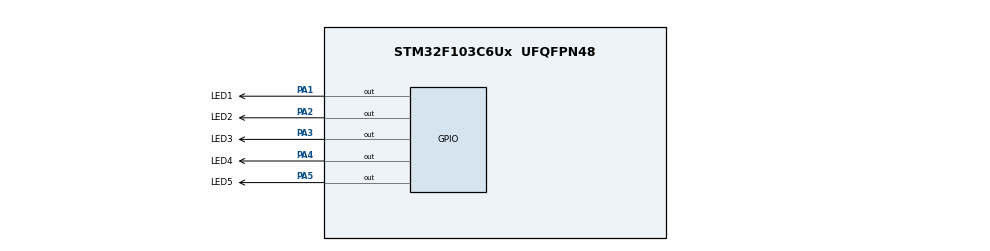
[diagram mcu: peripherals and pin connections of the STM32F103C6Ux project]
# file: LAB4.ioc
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Mcu.Family=STM32F1
Mcu.Name=STM32F103C6Ux
Mcu.Package=UFQFPN48
NVIC.PriorityGroup=NVIC_PRIORITYGROUP_4
NVIC.TIM2_IRQn=true\:0\:0\:false\:false\:true\:true\:true
PA1.GPIO_Label=LED1
PA1.Signal=GPIO_Output
PA2.GPIO_Label=LED2
PA2.Signal=GPIO_Output
PA3.GPIO_Label=LED3
PA3.Signal=GPIO_Output
PA4.GPIO_Label=LED4
PA4.Signal=GPIO_Output
PA5.GPIO_Label=LED5
PA5.Signal=GPIO_Output
ProjectManager.HeapSize=0x200
ProjectManager.StackSize=0x400
ProjectManager.TargetToolchain=STM32CubeIDE
RCC.APB1Freq_Value=8000000
RCC.APB2Freq_Value=8000000
TIM2.Period=9
TIM2.Prescaler=7999
VP_SYS_VS_ND.Mode=No_Debug
VP_TIM2_VS_ClockSourceINT.Mode=Internal
board=custom

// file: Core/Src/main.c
/* USER CODE BEGIN Header */
/**
  ******************************************************************************
  * @file           : main.c
  * @brief          : Main program body
  ******************************************************************************
  * @attention
  *
  * <h2><center>&copy; Copyright (c) 2024 STMicroelectronics.
  * All rights reserved.</center></h2>
  *
  * This software component is licensed by ST under BSD 3-Clause license,
  * the "License"; You may not use this file except in compliance with the
  * License. You may obtain a copy of the License at:
  *                        opensource.org/licenses/BSD-3-Clause
  *
  ******************************************************************************
  */
/* USER CODE END Header */
#include "main.h"

/* USER CODE BEGIN Includes */
#include "scheduler.h"
/* USER CODE END Includes */

TIM_HandleTypeDef htim2;

void SystemClock_Config(void);
static void MX_GPIO_Init(void);
static void MX_TIM2_Init(void);

/* USER CODE BEGIN 0 */
void led_1_blink()
{
  HAL_GPIO_TogglePin(LED1_GPIO_Port, LED1_Pin);
}
void led_2_blink()
{
  HAL_GPIO_TogglePin(LED2_GPIO_Port, LED2_Pin);
}
void led_3_blink()
{
  HAL_GPIO_TogglePin(LED3_GPIO_Port, LED3_Pin);
}
void led_4_blink()
{
  HAL_GPIO_TogglePin(LED4_GPIO_Port, LED4_Pin);
}
void led_5_blink()
{
  HAL_GPIO_WritePin(LED5_GPIO_Port, LED5_Pin, SET);
}
/* USER CODE END 0 */

int main(void)
{

  /* MCU Configuration--------------------------------------------------------*/

  /* Reset of all peripherals, Initializes the Flash interface and the Systick. */
  HAL_Init();

  /* Configure the system clock */
  SystemClock_Config();

  /* Initialize all configured peripherals */
  MX_GPIO_Init();
  MX_TIM2_Init();
  /* USER CODE BEGIN 2 */
  HAL_TIM_Base_Start_IT(&htim2);
  /* USER CODE END 2 */

  /* Infinite loop */
  /* USER CODE BEGIN WHILE */
  SCH_Init();

  SCH_Add_Task(led_1_blink, 0, 50);
  SCH_Add_Task(led_2_blink, 0, 100);
  SCH_Add_Task(led_3_blink, 0, 150);
  SCH_Add_Task(led_4_blink, 0, 200);
  SCH_Add_Task(led_5_blink, 500, 0);
  while (1)
  {
    /* USER CODE END WHILE */
	  SCH_Dispatcher();
  }
}

void SystemClock_Config(void)
{
  RCC_OscInitTypeDef RCC_OscInitStruct = {0};
  RCC_ClkInitTypeDef RCC_ClkInitStruct = {0};

  /** Initializes the RCC Oscillators according to the specified parameters
  * in the RCC_OscInitTypeDef structure.
  */
  RCC_OscInitStruct.OscillatorType = RCC_OSCILLATORTYPE_HSI;
  RCC_OscInitStruct.HSIState = RCC_HSI_ON;
  RCC_OscInitStruct.HSICalibrationValue = RCC_HSICALIBRATION_DEFAULT;
  RCC_OscInitStruct.PLL.PLLState = RCC_PLL_NONE;
  if (HAL_RCC_OscConfig(&RCC_OscInitStruct) != HAL_OK)
  {
    Error_Handler();
  }
  /** Initializes the CPU, AHB and APB buses clocks
  */
  RCC_ClkInitStruct.ClockType = RCC_CLOCKTYPE_HCLK|RCC_CLOCKTYPE_SYSCLK
                              |RCC_CLOCKTYPE_PCLK1|RCC_CLOCKTYPE_PCLK2;
  RCC_ClkInitStruct.SYSCLKSource = RCC_SYSCLKSOURCE_HSI;
  RCC_ClkInitStruct.AHBCLKDivider = RCC_SYSCLK_DIV1;
  RCC_ClkInitStruct.APB1CLKDivider = RCC_HCLK_DIV1;
  RCC_ClkInitStruct.APB2CLKDivider = RCC_HCLK_DIV1;

  if (HAL_RCC_ClockConfig(&RCC_ClkInitStruct, FLASH_LATENCY_0) != HAL_OK)
  {
    Error_Handler();
  }
}

static void MX_TIM2_Init(void)
{

  TIM_ClockConfigTypeDef sClockSourceConfig = {0};
  TIM_MasterConfigTypeDef sMasterConfig = {0};

  htim2.Instance = TIM2;
  htim2.Init.Prescaler = 7999;
  htim2.Init.CounterMode = TIM_COUNTERMODE_UP;
  htim2.Init.Period = 9;
  htim2.Init.ClockDivision = TIM_CLOCKDIVISION_DIV1;
  htim2.Init.AutoReloadPreload = TIM_AUTORELOAD_PRELOAD_DISABLE;
  if (HAL_TIM_Base_Init(&htim2) != HAL_OK)
  {
    Error_Handler();
  }
  sClockSourceConfig.ClockSource = TIM_CLOCKSOURCE_INTERNAL;
  if (HAL_TIM_ConfigClockSource(&htim2, &sClockSourceConfig) != HAL_OK)
  {
    Error_Handler();
  }
  sMasterConfig.MasterOutputTrigger = TIM_TRGO_RESET;
  sMasterConfig.MasterSlaveMode = TIM_MASTERSLAVEMODE_DISABLE;
  if (HAL_TIMEx_MasterConfigSynchronization(&htim2, &sMasterConfig) != HAL_OK)
  {
    Error_Handler();
  }

}

static void MX_GPIO_Init(void)
{
  GPIO_InitTypeDef GPIO_InitStruct = {0};

  /* GPIO Ports Clock Enable */
  __HAL_RCC_GPIOA_CLK_ENABLE();

  /*Configure GPIO pin Output Level */
  HAL_GPIO_WritePin(GPIOA, LED1_Pin|LED2_Pin|LED3_Pin|LED4_Pin
                          |LED5_Pin, GPIO_PIN_RESET);

  /*Configure GPIO pins : LED1_Pin LED2_Pin LED3_Pin LED4_Pin
                           LED5_Pin */
  GPIO_InitStruct.Pin = LED1_Pin|LED2_Pin|LED3_Pin|LED4_Pin
                          |LED5_Pin;
  GPIO_InitStruct.Mode = GPIO_MODE_OUTPUT_PP;
  GPIO_InitStruct.Pull = GPIO_NOPULL;
  GPIO_InitStruct.Speed = GPIO_SPEED_FREQ_LOW;
  HAL_GPIO_Init(GPIOA, &GPIO_InitStruct);

}

/* USER CODE BEGIN 4 */
void HAL_TIM_PeriodElapsedCallback(TIM_HandleTypeDef *htim)
{
	SCH_Update();
}
/* USER CODE END 4 */

void Error_Handler(void)
{
  __disable_irq();
  while (1)
  {
  }
}

/************************ (C) COPYRIGHT STMicroelectronics *****END OF FILE****/
